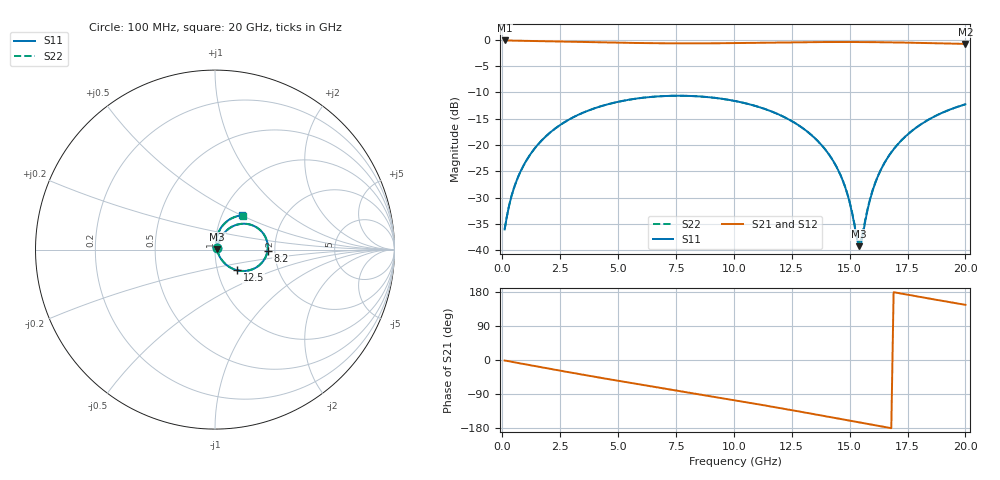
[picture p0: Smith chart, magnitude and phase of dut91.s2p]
! Touchstone file exported from HFSS 2026.1.0
!  File:  C:/ffzhzh/LocalFiles/Ansys_Project_Files/temp_train_TSV_RDL_91_1782973139_45308.aedt
!  Generated:  02:27:26 PM Jul  2, 2026
!  Design:  TSV_RDL
!  Project:  temp_train_TSV_RDL_91_1782973139_45308
! Variables:
!  h_bsmrdl = 3.6um
!  h_ox = 20um
!  h_rdl = 5um
!  h_sub = 87.63um
!  h_tmrdl = 4.21um
!  h_tsv = 87.63um
!  h_via = 3um
!  l_bsmrdl = 255.56um
!  l_sub = 3389.21um
!  l_tmrdl = 524.26um
!  m_sub = 200um
!  pitch = 35.6um
!  r_tsv = 10.41um
!  s_tmrdl = 10um
!  w_bsmrdl = 22.1um
!  w_sub = 500um
!  w_tmrdl = 19.73um
!  x_tsv_center1 = 534.125um
!  x_tsv_center2 = 811.785um
!  x_tsv_center3 = 1355.775um
!  x_tsv_center4 = 1633.435um
!  x_tsv_center5 = 2177.425um
!  x_tsv_center6 = 2455.085um
# GHz S MA R 50.000000
! Terminal data exported
! Port[1] = TM_RDL1_1_T1
! Port[2] = TM_RDL5_1_T1
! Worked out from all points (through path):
!   200 points, 100 MHz to 20 GHz, reference 50 ohm
!   highest |S21| = -0.12 dB at 100 MHz (marker M1); lowest = -0.8 dB at 20 GHz (marker M2)
!   group delay of S21, straight-line fit = 29.5 ps
!   lowest |S11| = -39.2 dB at 15.4 GHz (marker M3), VSWR 1.02, Z = 51.1 + j0.0695 ohm
!   |S11| at or under -10 dB: start of sweep to end of sweep
!   |S22| runs from -38.5 to -10.6 dB; largest |S21 - S12| = 4.9e-14
!   S11 on the Smith chart (normalised r, x): 100 MHz: 1.03, +0.02; 8.2 GHz: 1.83, -0.02; 12.5 GHz: 1.24, -0.30; 20 GHz: 1.25, +0.51
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0.1  0.01585 28.6  0.9862 -1.2  0.9862 -1.2  0.01585 28.6
! Gamma 0 0 0 0
! Port Impedance 50 0 50 0
0.3  0.02705 51.6  0.9843 -3.6  0.9843 -3.6  0.02705 51.6
0.5  0.03897 58.7  0.9825 -5.8  0.9825 -5.8  0.03897 58.7
1.2  0.08109 63.0  0.9779 -13.7  0.9779 -13.7  0.08109 63.0
2.2  0.1393 56.7  0.9696 -24.9  0.9696 -24.9  0.1392 56.7
3.5  0.2039 44.6  0.9556 -39.0  0.9556 -39.0  0.2039 44.6
5.1  0.2607 28.9  0.939 -55.8  0.939 -55.8  0.2606 29.0
6.8  0.2911 12.4  0.9277 -73.2  0.9277 -73.2  0.291 12.4
8.2  0.2927 -1.2  0.9253 -87.4  0.9253 -87.4  0.2926 -1.1
10.1  0.2612 -19.7  0.9314 -106.9  0.9314 -106.9  0.2612 -19.6
12.5  0.1693 -43.0  0.9463 -132.4  0.9463 -132.4  0.1692 -42.8
13.4  0.1221 -51.1  0.9508 -142.2  0.9508 -142.2  0.1221 -50.8
14.1  0.08203 -56.1  0.953 -149.9  0.953 -149.9  0.08204 -55.5
14.6  0.05232 -57.1  0.9536 -155.5  0.9536 -155.5  0.05241 -56.2
15  0.02869 -51.2  0.9535 -159.9  0.9535 -159.9  0.02895 -49.4
15.4  0.01099 3.5  0.9528 -164.4  0.9528 -164.4  0.01191 4.7
15.5  0.01179 34.0  0.9525 -165.5  0.9525 -165.5  0.01271 32.8
15.8  0.0257 72.9  0.9515 -168.9  0.9515 -168.9  0.02623 71.1
16  0.03735 78.9  0.9506 -171.1  0.9506 -171.1  0.03775 77.4
16.7  0.07939 80.4  0.9466 -178.9  0.9466 -178.9  0.07965 79.6
18  0.1534 70.4  0.9354 166.9  0.9354 166.9  0.1536 69.9
20  0.244 51.3  0.9146 145.6  0.9146 145.6  0.2442 51.0
